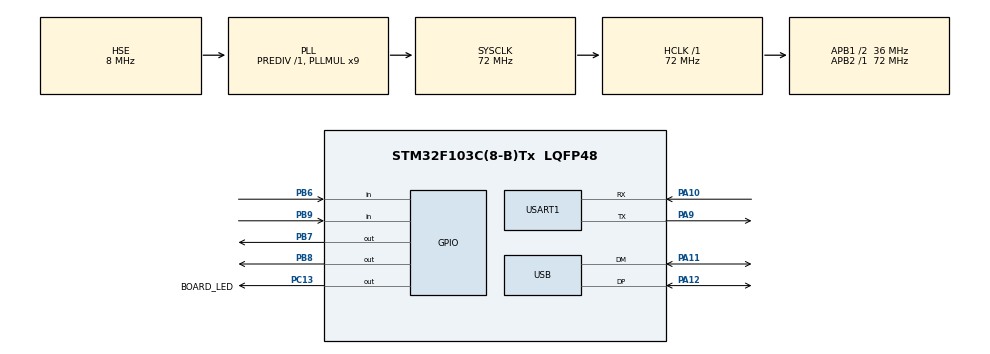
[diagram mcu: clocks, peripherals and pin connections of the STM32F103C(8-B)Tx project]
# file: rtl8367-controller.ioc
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Mcu.Family=STM32F1
Mcu.Name=STM32F103C(8-B)Tx
Mcu.Package=LQFP48
NVIC.PriorityGroup=NVIC_PRIORITYGROUP_4
NVIC.USART1_IRQn=true\:0\:0\:false\:false\:true\:true\:true\:true
NVIC.USB_LP_CAN1_RX0_IRQn=true\:0\:0\:false\:false\:true\:false\:true\:true
PA10.Mode=Asynchronous
PA10.Signal=USART1_RX
PA11.Mode=Device
PA11.Signal=USB_DM
PA12.Mode=Device
PA12.Signal=USB_DP
PA13.Mode=Serial_Wire
PA13.Signal=SYS_JTMS-SWDIO
PA14.Mode=Serial_Wire
PA14.Signal=SYS_JTCK-SWCLK
PA9.Mode=Asynchronous
PA9.Signal=USART1_TX
PB6.Signal=GPIO_Input
PB7.Signal=GPIO_Output
PB8.Signal=GPIO_Output
PB9.Signal=GPIO_Input
PC13-TAMPER-RTC.GPIO_Label=BOARD_LED
PC13-TAMPER-RTC.Signal=GPIO_Output
PD0-OSC_IN.Mode=HSE-External-Oscillator
PD0-OSC_IN.Signal=RCC_OSC_IN
PD1-OSC_OUT.Mode=HSE-External-Oscillator
PD1-OSC_OUT.Signal=RCC_OSC_OUT
ProjectManager.HeapSize=0x200
ProjectManager.StackSize=0x400
ProjectManager.TargetToolchain=STM32CubeIDE
RCC.AHBFreq_Value=72000000
RCC.APB1CLKDivider=RCC_HCLK_DIV2
RCC.APB1Freq_Value=36000000
RCC.APB1TimFreq_Value=72000000
RCC.APB2Freq_Value=72000000
RCC.APB2TimFreq_Value=72000000
RCC.HCLKFreq_Value=72000000
RCC.PLLMUL=RCC_PLL_MUL9
RCC.SYSCLKFreq_VALUE=72000000
RCC.SYSCLKSource=RCC_SYSCLKSOURCE_PLLCLK
RCC.USBFreq_Value=48000000
RCC.USBPrescaler=RCC_USBCLKSOURCE_PLL_DIV1_5
TIM1.Period=0xFFFF-1
TIM1.Prescaler=64-1
USART1.VirtualMode=VM_ASYNC
USB_DEVICE.CLASS_NAME_FS=CDC
USB_DEVICE.VirtualMode=Cdc
USB_DEVICE.VirtualModeFS=Cdc_FS
VP_TIM1_VS_ClockSourceINT.Mode=Internal
VP_USB_DEVICE_VS_USB_DEVICE_CDC_FS.Mode=CDC_FS
board=custom

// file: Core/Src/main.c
/* USER CODE BEGIN Header */
/**
 ******************************************************************************
 * @file           : main.c
 * @brief          : Main program body
 ******************************************************************************
 * @attention
 *
 * Copyright (c) 2025 STMicroelectronics.
 * All rights reserved.
 *
 * This software is licensed under terms that can be found in the LICENSE file
 * in the root directory of this software component.
 * If no LICENSE file comes with this software, it is provided AS-IS.
 *
 ******************************************************************************
 */
/* USER CODE END Header */
#include "main.h"
#include "usb_device.h"

/* USER CODE BEGIN Includes */
#include "usbd_def.h"
#include "usbd_cdc_if.h"
#include "sw_config.h"
#include "sw_menu.h"
/* USER CODE END Includes */

/* USER CODE BEGIN PD */
#define RX_BUFFER_SIZE 128
/* USER CODE END PD */

TIM_HandleTypeDef htim1;

UART_HandleTypeDef huart1;

/* USER CODE BEGIN PV */
static uint8_t rxBuffer[RX_BUFFER_SIZE];
static uint16_t rxIndex = 0;
static volatile uint8_t usbDataReady = 0;
/* USER CODE END PV */

void SystemClock_Config(void);
static void MX_GPIO_Init(void);
static void MX_USART1_UART_Init(void);
static void MX_TIM1_Init(void);
/* USER CODE BEGIN PFP */
//static void set_rtl8367s_rgmii(void);
//void switch_probe();
//void print_chip_name(switch_chip_t chip);
//uint8_t check_for_error(rtk_api_ret_t status, char *message);
//void set_current_device(uint8_t device);
#define PUTCHAR_PROTOTYPE int __io_putchar(int ch)

/* USER CODE END PFP */

int main(void)
{

  /* MCU Configuration--------------------------------------------------------*/

  /* Reset of all peripherals, Initializes the Flash interface and the Systick. */
  HAL_Init();

  /* Configure the system clock */
  SystemClock_Config();

  /* Initialize all configured peripherals */
  MX_GPIO_Init();
  MX_USART1_UART_Init();
  MX_TIM1_Init();
  MX_USB_DEVICE_Init();
  /* USER CODE BEGIN 2 */
  HAL_Delay(2000);
  //load_switch_config();
  Menu_Init();
  /* USER CODE END 2 */

  /* Infinite loop */
  /* USER CODE BEGIN WHILE */
  int connected = 0;
  while (1)
  {
	  if (CDC_Get_DTR_State() == 0) {
		  connected = 0;
	  }
	  if (CDC_Get_DTR_State() == 1 && connected == 0) {
		  connected = 1;
		  printf("\n\r=================================\n\r");
		  printf("====  *** putin huilo ***    ====\r\n");
		  printf("===      Starting switch      ===\n\r");
		  printf("=================================\n\r");
		  printf("\r\nWelcome to STM32 switch Menu!\r\n");
		  ShowMainMenu();
	  }
	   if (usbDataReady) {
		   ProcessInput((char*)rxBuffer);
	       usbDataReady = 0;
	    }

    /* USER CODE END WHILE */

	}
}

void SystemClock_Config(void)
{
  RCC_OscInitTypeDef RCC_OscInitStruct = {0};
  RCC_ClkInitTypeDef RCC_ClkInitStruct = {0};
  RCC_PeriphCLKInitTypeDef PeriphClkInit = {0};

  /** Initializes the RCC Oscillators according to the specified parameters
  * in the RCC_OscInitTypeDef structure.
  */
  RCC_OscInitStruct.OscillatorType = RCC_OSCILLATORTYPE_HSE;
  RCC_OscInitStruct.HSEState = RCC_HSE_ON;
  RCC_OscInitStruct.HSEPredivValue = RCC_HSE_PREDIV_DIV1;
  RCC_OscInitStruct.HSIState = RCC_HSI_ON;
  RCC_OscInitStruct.PLL.PLLState = RCC_PLL_ON;
  RCC_OscInitStruct.PLL.PLLSource = RCC_PLLSOURCE_HSE;
  RCC_OscInitStruct.PLL.PLLMUL = RCC_PLL_MUL9;
  if (HAL_RCC_OscConfig(&RCC_OscInitStruct) != HAL_OK)
  {
    Error_Handler();
  }

  /** Initializes the CPU, AHB and APB buses clocks
  */
  RCC_ClkInitStruct.ClockType = RCC_CLOCKTYPE_HCLK|RCC_CLOCKTYPE_SYSCLK
                              |RCC_CLOCKTYPE_PCLK1|RCC_CLOCKTYPE_PCLK2;
  RCC_ClkInitStruct.SYSCLKSource = RCC_SYSCLKSOURCE_PLLCLK;
  RCC_ClkInitStruct.AHBCLKDivider = RCC_SYSCLK_DIV1;
  RCC_ClkInitStruct.APB1CLKDivider = RCC_HCLK_DIV2;
  RCC_ClkInitStruct.APB2CLKDivider = RCC_HCLK_DIV1;

  if (HAL_RCC_ClockConfig(&RCC_ClkInitStruct, FLASH_LATENCY_2) != HAL_OK)
  {
    Error_Handler();
  }
  PeriphClkInit.PeriphClockSelection = RCC_PERIPHCLK_USB;
  PeriphClkInit.UsbClockSelection = RCC_USBCLKSOURCE_PLL_DIV1_5;
  if (HAL_RCCEx_PeriphCLKConfig(&PeriphClkInit) != HAL_OK)
  {
    Error_Handler();
  }
}

static void MX_TIM1_Init(void)
{

  TIM_ClockConfigTypeDef sClockSourceConfig = {0};
  TIM_MasterConfigTypeDef sMasterConfig = {0};

  htim1.Instance = TIM1;
  htim1.Init.Prescaler = 64-1;
  htim1.Init.CounterMode = TIM_COUNTERMODE_UP;
  htim1.Init.Period = 0xFFFF-1;
  htim1.Init.ClockDivision = TIM_CLOCKDIVISION_DIV1;
  htim1.Init.RepetitionCounter = 0;
  htim1.Init.AutoReloadPreload = TIM_AUTORELOAD_PRELOAD_DISABLE;
  if (HAL_TIM_Base_Init(&htim1) != HAL_OK)
  {
    Error_Handler();
  }
  sClockSourceConfig.ClockSource = TIM_CLOCKSOURCE_INTERNAL;
  if (HAL_TIM_ConfigClockSource(&htim1, &sClockSourceConfig) != HAL_OK)
  {
    Error_Handler();
  }
  sMasterConfig.MasterOutputTrigger = TIM_TRGO_RESET;
  sMasterConfig.MasterSlaveMode = TIM_MASTERSLAVEMODE_DISABLE;
  if (HAL_TIMEx_MasterConfigSynchronization(&htim1, &sMasterConfig) != HAL_OK)
  {
    Error_Handler();
  }
  /* USER CODE BEGIN TIM1_Init 2 */
	HAL_TIM_Base_Start_IT(&htim1);
  /* USER CODE END TIM1_Init 2 */

}

static void MX_USART1_UART_Init(void)
{

  huart1.Instance = USART1;
  huart1.Init.BaudRate = 115200;
  huart1.Init.WordLength = UART_WORDLENGTH_8B;
  huart1.Init.StopBits = UART_STOPBITS_1;
  huart1.Init.Parity = UART_PARITY_NONE;
  huart1.Init.Mode = UART_MODE_TX_RX;
  huart1.Init.HwFlowCtl = UART_HWCONTROL_NONE;
  huart1.Init.OverSampling = UART_OVERSAMPLING_16;
  if (HAL_UART_Init(&huart1) != HAL_OK)
  {
    Error_Handler();
  }

}

static void MX_GPIO_Init(void)
{
  GPIO_InitTypeDef GPIO_InitStruct = {0};

  /* GPIO Ports Clock Enable */
  __HAL_RCC_GPIOC_CLK_ENABLE();
  __HAL_RCC_GPIOD_CLK_ENABLE();
  __HAL_RCC_GPIOA_CLK_ENABLE();
  __HAL_RCC_GPIOB_CLK_ENABLE();

  /*Configure GPIO pin Output Level */
  HAL_GPIO_WritePin(BOARD_LED_GPIO_Port, BOARD_LED_Pin, GPIO_PIN_RESET);

  /*Configure GPIO pin Output Level */
  HAL_GPIO_WritePin(GPIOB, GPIO_PIN_7|GPIO_PIN_8, GPIO_PIN_RESET);

  /*Configure GPIO pin : BOARD_LED_Pin */
  GPIO_InitStruct.Pin = BOARD_LED_Pin;
  GPIO_InitStruct.Mode = GPIO_MODE_OUTPUT_PP;
  GPIO_InitStruct.Pull = GPIO_NOPULL;
  GPIO_InitStruct.Speed = GPIO_SPEED_FREQ_LOW;
  HAL_GPIO_Init(BOARD_LED_GPIO_Port, &GPIO_InitStruct);

  /*Configure GPIO pins : PB6 PB9 */
  GPIO_InitStruct.Pin = GPIO_PIN_6|GPIO_PIN_9;
  GPIO_InitStruct.Mode = GPIO_MODE_INPUT;
  GPIO_InitStruct.Pull = GPIO_NOPULL;
  HAL_GPIO_Init(GPIOB, &GPIO_InitStruct);

  /*Configure GPIO pins : PB7 PB8 */
  GPIO_InitStruct.Pin = GPIO_PIN_7|GPIO_PIN_8;
  GPIO_InitStruct.Mode = GPIO_MODE_OUTPUT_PP;
  GPIO_InitStruct.Pull = GPIO_NOPULL;
  GPIO_InitStruct.Speed = GPIO_SPEED_FREQ_LOW;
  HAL_GPIO_Init(GPIOB, &GPIO_InitStruct);

}

/* USER CODE BEGIN 4 */

/*
uint8_t check_for_error(rtk_api_ret_t status, char *message) {
	if (status == RT_ERR_OK) {
		printf("%s successfully.\n", message);
		return 0;
	} else {
		printf("%s with error: %ld\n", message, status);
	}
	return 1;
}
*/
/*
void switch_probe() {
	printf("Switch probe starting.\n");
	switch_chip_t chip;
	rtk_api_ret_t status = rtk_switch_probe(&chip);
	if (status == RT_ERR_OK) {
		printf("Switch probed successfully.\n");
		print_chip_name(chip);
	} else if (status == RT_ERR_FAILED) {
		printf("Switch probing failed.\n");
	} else {
		printf("Unknown return value: %ld\n", status);
	}
}
*/
PUTCHAR_PROTOTYPE {
	/* Place your implementation of fputc here */
	/* e.g. write a character to the USART1 and Loop until the end of transmission */
	//HAL_UART_Transmit(&huart1, (uint8_t*) &ch, 1, 0xFFFF);

	if (CDC_Get_DTR_State() == 1) {
		int count = 0;
		while (CDC_Transmit_FS(&ch, 1) == USBD_BUSY) {
			HAL_Delay(5);
			count++;
			if (count > 3) {
				break;
			}
		}
	}
	return ch;
}

void USB_CDC_RxHandler(uint8_t* Buf, uint32_t Len)
{
	//USB_MenuRXHandler(Buf, Len);
	CDC_Transmit_FS(Buf, Len);
    // Copy received data into buffer
    for (uint32_t i = 0; i < Len; i++) {
        uint8_t rxData = Buf[i];
        if (rxData == '\r' || rxData == '\n') {
            rxBuffer[rxIndex] = '\0';
            if (rxIndex > 0) {
                usbDataReady = 1;   // signal main loop to process
                rxIndex = 0;
            }
        } else {
            if (rxIndex < RX_BUFFER_SIZE - 1) {
                rxBuffer[rxIndex++] = rxData;
            }
        }
    }
}

/*
void print_chip_name(switch_chip_t chip) {
	switch (chip) {
	case CHIP_RTL8367C:
		printf("CHIP_RTL8367C\n");
		break;
	case CHIP_RTL8370B:
		printf("CHIP_RTL8370B\n");
		break;
	case CHIP_RTL8364B:
		printf("CHIP_RTL8364B\n");
		break;
	case CHIP_RTL8363SC_VB:
		printf("CHIP_RTL8363SC_VB\n");
		break;
	case CHIP_END:
		printf("CHIP_END\n");
		break;
	default:
		printf("Unknown chip value: %d\n", chip);
		break;
	}
}*/

void delay_us(uint16_t us) {
	__HAL_TIM_SET_COUNTER(&htim1, 0);  // set the counter value a 0
	while (__HAL_TIM_GET_COUNTER(&htim1) < us)
		;  // wait for the counter to reach the us input in the parameter
}
/* USER CODE END 4 */

void Error_Handler(void)
{
	__disable_irq();
	while (1) {
	}
}
